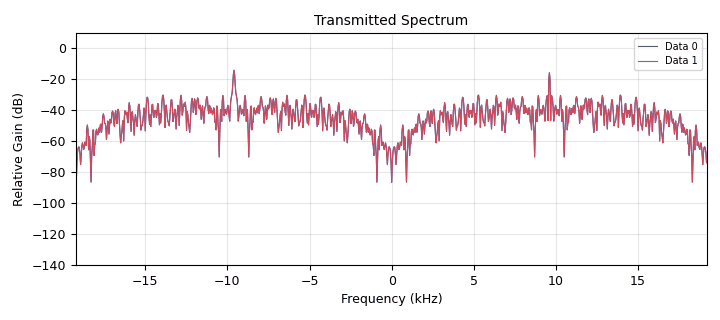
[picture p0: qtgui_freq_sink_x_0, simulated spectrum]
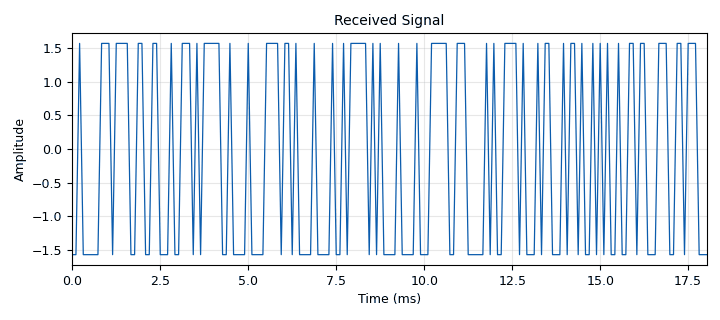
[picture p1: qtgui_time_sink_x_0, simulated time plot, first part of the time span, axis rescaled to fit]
options:
  parameters:
    author: zoe
    generate_options: qt_gui
    id: lab4_5
    output_language: python
  states: {}

blocks:
- name: baudrate
  id: variable
  parameters:
    value: '9600.0'
  states: {}
- name: cfo
  id: variable_qtgui_range
  parameters:
    label: Carrier Frequency Offset (Hz)
    start: '-samp_rate/2.0'
    step: '10'
    stop: samp_rate/2.0
    value: '0.0'
  states: {}
- name: deviation
  id: variable
  parameters:
    value: '9600.0'
  states: {}
- name: modulation_index
  id: variable
  parameters:
    value: 2.0 * deviation / baudrate
  states: {}
- name: noise
  id: variable_qtgui_range
  parameters:
    label: Noise Amplitude
    start: '0'
    step: '0.01'
    stop: '1'
    value: '0.0'
  states: {}
- name: samp_rate
  id: variable
  parameters:
    value: baudrate * sps
  states: {}
- name: sps
  id: variable
  parameters:
    comment: Samples per symbol
    value: '4'
  states: {}
- name: analog_frequency_modulator_fc_0
  id: analog_frequency_modulator_fc
  parameters:
    sensitivity: (math.pi * modulation_index) / sps
  states: {}
- name: analog_noise_source_x_0
  id: analog_noise_source_x
  parameters:
    amp: noise
    noise_type: analog.GR_GAUSSIAN
    seed: '0'
    type: complex
  states: {}
- name: analog_quadrature_demod_cf_0
  id: analog_quadrature_demod_cf
  parameters:
    comment: |-
      Quadrature demodulation block is used to decode
      the signal
    gain: '1.0'
  states: {}
- name: analog_random_source_x_0
  id: analog_random_source_x
  parameters:
    max: '256'
    min: '0'
    num_samps: '1000'
    repeat: 'True'
    type: byte
  states: {}
- name: analog_sig_source_x_0
  id: analog_sig_source_x
  parameters:
    amp: '1'
    freq: cfo
    offset: '0'
    phase: '0'
    samp_rate: samp_rate
    type: complex
    waveform: analog.GR_COS_WAVE
  states: {}
- name: blocks_add_xx_0
  id: blocks_add_xx
  parameters:
    type: complex
  states: {}
- name: blocks_char_to_float_0
  id: blocks_char_to_float
  parameters:
    scale: '1'
  states: {}
- name: blocks_multiply_xx_0
  id: blocks_multiply_xx
  parameters:
    type: complex
  states: {}
- name: blocks_packed_to_unpacked_xx_0
  id: blocks_packed_to_unpacked_xx
  parameters:
    bits_per_chunk: '1'
    comment: Split the byte into a stream of bits
    endianness: gr.GR_MSB_FIRST
    type: byte
  states: {}
- name: blocks_repeat_0
  id: blocks_repeat
  parameters:
    interp: sps
    type: float
  states: {}
- name: blocks_throttle2_0
  id: blocks_throttle2
  parameters:
    samples_per_second: samp_rate*10
    type: complex
  states: {}
- name: digital_clock_recovery_mm_xx_0
  id: digital_clock_recovery_mm_xx
  parameters:
    gain_mu: '0.175'
    gain_omega: math.pi/100.0
    mu: '0.5'
    omega: sps
    omega_relative_limit: '0.005'
    type: float
  states: {}
- name: digital_map_bb_0
  id: digital_map_bb
  parameters:
    comment: Map 0 to -1 and 1 to 1.
    map: '[-1, 1]'
  states: {}
- name: import_0
  id: import
  parameters:
    imports: import math
  states: {}
- name: qtgui_freq_sink_x_0
  id: qtgui_freq_sink_x
  parameters:
    bw: samp_rate
    fc: '0'
    fftsize: '1024'
    label2: ''
    name: '"Transmitted Spectrum"'
    nconnections: '2'
    showports: 'True'
    type: complex
  states: {}
- name: qtgui_time_sink_x_0
  id: qtgui_time_sink_x
  parameters:
    label1: ''
    name: '"Received Signal"'
    size: '1024'
    srate: samp_rate / sps
    type: float
  states: {}
- name: virtual_sink_0
  id: virtual_sink
  parameters:
    stream_id: after_cfo
  states: {}
- name: virtual_source_0
  id: virtual_source
  parameters:
    stream_id: after_cfo
  states: {}

connections:
- [analog_frequency_modulator_fc_0, '0', blocks_add_xx_0, '1']
- [analog_frequency_modulator_fc_0, '0', qtgui_freq_sink_x_0, '0']
- [analog_noise_source_x_0, '0', blocks_add_xx_0, '0']
- [analog_quadrature_demod_cf_0, '0', digital_clock_recovery_mm_xx_0, '0']
- [analog_random_source_x_0, '0', blocks_packed_to_unpacked_xx_0, '0']
- [analog_sig_source_x_0, '0', blocks_multiply_xx_0, '0']
- [blocks_add_xx_0, '0', blocks_multiply_xx_0, '1']
- [blocks_char_to_float_0, '0', blocks_repeat_0, '0']
- [blocks_multiply_xx_0, '0', virtual_sink_0, '0']
- [blocks_packed_to_unpacked_xx_0, '0', digital_map_bb_0, '0']
- [blocks_repeat_0, '0', analog_frequency_modulator_fc_0, '0']
- [blocks_throttle2_0, '0', qtgui_freq_sink_x_0, '1']
- [digital_clock_recovery_mm_xx_0, '0', qtgui_time_sink_x_0, '0']
- [digital_map_bb_0, '0', blocks_char_to_float_0, '0']
- [virtual_source_0, '0', analog_quadrature_demod_cf_0, '0']
- [virtual_source_0, '0', blocks_throttle2_0, '0']

metadata:
  file_format: 1
  grc_version: 3.10.7.0
